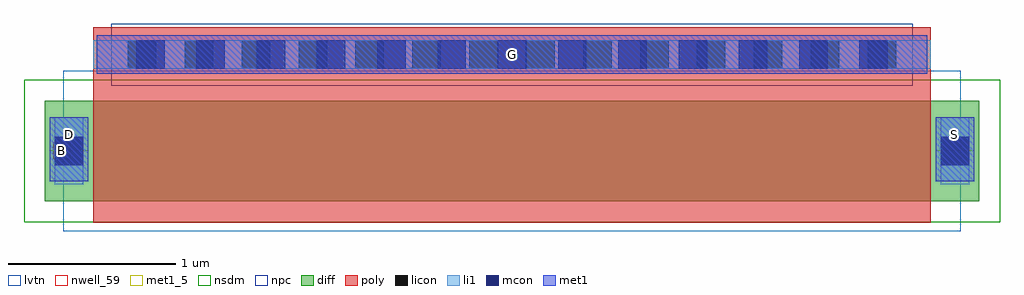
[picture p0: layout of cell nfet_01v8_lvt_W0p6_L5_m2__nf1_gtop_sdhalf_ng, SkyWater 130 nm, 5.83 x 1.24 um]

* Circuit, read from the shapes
.subckt nfet_01v8_lvt_W0p6_L5_m2__nf1_gtop_sdhalf_ng B D G S
XM1 S G D B sky130_fd_pr__nfet_01v8_lvt w=0.6 l=5
.ends

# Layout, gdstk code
import gdstk
lib = gdstk.Library(unit=1e-6, precision=1e-09)
def R(c, l, rs):  # rectangles x0, y0, x1, y1
    for r in rs: c.add(gdstk.rectangle(r[:2], r[2:], *l))
def A(c, l, x, y, w, h, nx, ny, dx, dy):  # array of equal rectangles
    R(c, l, [(x+i*dx, y+j*dy, x+i*dx+w, y+j*dy+h) for i in range(nx) for j in range(ny)])
nwell_59 = (64, 59)
diff = (65, 20)
poly = (66, 20)
licon = (66, 44)
li1 = (67, 20)
mcon = (67, 44)
met1_5 = (68, 5)
met1 = (68, 20)
nsdm = (93, 44)
npc = (95, 20)
lvtn = (125, 44)

sky130_fd_pr__nfet_01v8_ = lib.new_cell('sky130_fd_pr__nfet_01v8_lvt_ZJH8DG')
R(sky130_fd_pr__nfet_01v8_, diff, [(-2.79,-0.455,2.79,0.145)])
R(sky130_fd_pr__nfet_01v8_, poly, [(-2.5,-0.585,2.5,0.585)])
A(sky130_fd_pr__nfet_01v8_, licon, -2.295, 0.335, 0.17, 0.17, 14, 1, 0.34, 0)
R(sky130_fd_pr__nfet_01v8_, licon, [(-2.73,-0.24,-2.56,-0.07), (2.56,-0.24,2.73,-0.07)])
R(sky130_fd_pr__nfet_01v8_, li1, [(-2.73,-0.355,-2.56,0.045), (2.56,-0.355,2.73,0.045), (-2.5,0.335,2.5,0.505)])
A(sky130_fd_pr__nfet_01v8_, mcon, -2.245, 0.335, 0.17, 0.17, 13, 1, 0.36, 0)
R(sky130_fd_pr__nfet_01v8_, mcon, [(-2.73,-0.24,-2.56,-0.07), (2.56,-0.24,2.73,-0.07)])
R(sky130_fd_pr__nfet_01v8_, met1, [(-2.76,-0.335,-2.53,0.025), (2.53,-0.335,2.76,0.025), (-2.48,0.305,2.48,0.535)])
R(sky130_fd_pr__nfet_01v8_, nsdm, [(-2.915,-0.58,2.915,0.27)])
R(sky130_fd_pr__nfet_01v8_, npc, [(-2.395,0.235,2.395,0.605)])
R(sky130_fd_pr__nfet_01v8_, lvtn, [(-2.68,-0.635,2.68,0.325)])
sky130_fd_pr__nfet_01v8_.add(gdstk.Label('D', (-2.645,-0.155), layer=67, texttype=5))
sky130_fd_pr__nfet_01v8_.add(gdstk.Label('S', (2.645,-0.155), layer=67, texttype=5))
sky130_fd_pr__nfet_01v8_.add(gdstk.Label('G', (0,0.42), layer=67, texttype=5))

nfet_01v8_lvt_w0p6_l5_m2 = lib.new_cell('nfet_01v8_lvt_W0p6_L5_m2__nf1_gtop_sdhalf_ng')
R(nfet_01v8_lvt_w0p6_l5_m2, nwell_59, [(0.05,0.38,0.15,0.48)])
R(nfet_01v8_lvt_w0p6_l5_m2, met1_5, [(0.03,0.43,0.26,0.63), (5.32,0.43,5.55,0.63), (0.31,0.89,5.27,1.12)])
R(nfet_01v8_lvt_w0p6_l5_m2, met1, [(0.03,0.43,0.26,0.63), (5.32,0.43,5.55,0.63), (0.31,0.89,5.27,1.12)])
nfet_01v8_lvt_w0p6_l5_m2.add(gdstk.Reference(sky130_fd_pr__nfet_01v8_, (2.79,0.585)))
nfet_01v8_lvt_w0p6_l5_m2.add(gdstk.Label('D', (0.145,0.53), layer=68, texttype=5))
nfet_01v8_lvt_w0p6_l5_m2.add(gdstk.Label('S', (5.435,0.53), layer=68, texttype=5))
nfet_01v8_lvt_w0p6_l5_m2.add(gdstk.Label('G', (2.79,1.005), layer=68, texttype=5))
nfet_01v8_lvt_w0p6_l5_m2.add(gdstk.Label('B', (0.1,0.43), layer=64, texttype=59))

lib.write_gds('nfet_01v8_lvt_W0p6_L5_m2__nf1_gtop_sdhalf_ng.gds')
